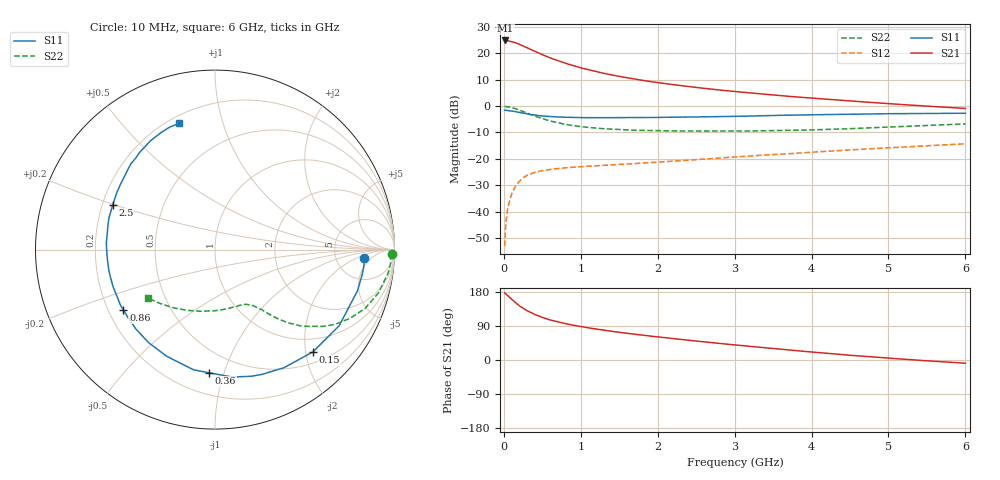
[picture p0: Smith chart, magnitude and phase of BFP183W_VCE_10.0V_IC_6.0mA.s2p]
! Infineon Technologies  Discrete & RF Semiconductors
! BFP183W
! VCE = 10.0V,  IC =  6.0 mA
! Common Emitter S-Parameters:  Jan 2016
# GHz  S  MA  R  50
!  f  S11  S21  S12  S22
! GHz  MAG  ANG  MAG  ANG  MAG  ANG  MAG  ANG
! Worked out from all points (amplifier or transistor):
!   210 points, 10 MHz to 6 GHz, reference 50 ohm
!   highest |S21| = 24.9 dB at 20 MHz (marker M1)
!   |S21| within 3 dB of that: start of sweep to 316.2 MHz
!   unconditionally stable (mu >= 1): 1.777 GHz to 5.522 GHz
!   at 185 MHz: K = 0.16, MSG = 26.4 dB, |S12| = -29.1 dB
!   at 1.52 GHz: K = 0.92, MSG = 16.6 dB, |S12| = -22.1 dB
!   at 6 GHz: K = 0.98, MSG = 6.7 dB, |S12| = -14.3 dB
!   S11 on the Smith chart (normalised r, x): 10 MHz: 10, -3; 150 MHz: 0.71, -2.15; 360 MHz: 0.34, -0.89; 860 MHz: 0.26, -0.28; 2.5 GHz: 0.24, +0.20; 6 GHz: 0.24, +0.73
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0.01  0.8339 -3.2  17.49 176.8  0.0022 84.0  0.9847 -1.5
0.02  0.8344 -6.4  17.6 175.7  0.0045 80.3  0.9798 -3.1
0.05  0.8263 -16.1  17.39 169.9  0.0112 80.6  0.9733 -7.7
0.1  0.8116 -31.5  16.75 160.5  0.021 72.5  0.9425 -14.8
0.15  0.7889 -46.2  15.96 151.4  0.0299 66.3  0.8977 -21.5
0.2  0.762 -59.7  14.91 143.3  0.0372 60.5  0.8437 -27.0
0.24  0.743 -69.3  14.05 138.0  0.0422 56.0  0.8005 -30.8
0.3  0.7167 -82.3  12.78 130.2  0.0484 50.5  0.737 -35.5
0.36  0.6869 -92.8  11.63 124.6  0.0524 46.4  0.6821 -38.8
0.4  0.6805 -100.1  10.94 120.2  0.0552 44.0  0.6469 -41.3
0.5  0.6522 -114.5  9.447 112.1  0.0597 39.7  0.5772 -45.0
0.6  0.6367 -125.6  8.227 105.8  0.0629 36.5  0.5233 -47.6
0.7  0.6245 -134.9  7.301 100.5  0.0654 34.6  0.4831 -49.4
0.86  0.6114 -146.6  6.115 93.5  0.0686 33.1  0.4359 -51.6
1.02  0.6046 -155.8  5.228 87.6  0.071 32.2  0.4054 -53.5
1.42  0.6017 -173.3  3.858 75.3  0.0771 32.3  0.3641 -57.8
2.02  0.6111 167.8  2.768 60.6  0.0869 34.9  0.3403 -65.8
2.5  0.6221 156.3  2.261 50.1  0.0964 36.6  0.336 -73.4
3.1  0.6431 143.6  1.835 38.0  0.1106 37.7  0.3372 -84.5
4.1  0.6878 126.6  1.387 19.6  0.1362 37.1  0.3567 -106.2
5.1  0.719 114.1  1.088 3.5  0.1648 34.5  0.4047 -128.0
6  0.7316 105.8  0.903 -8.5  0.1927 31.0  0.4595 -143.9
